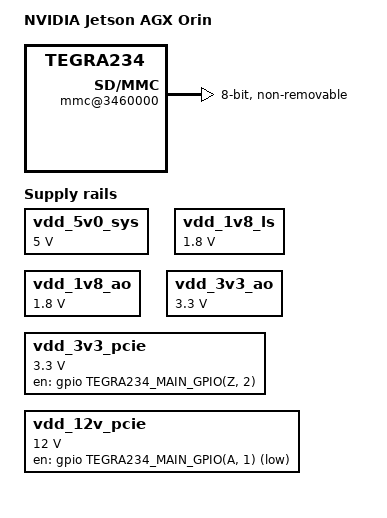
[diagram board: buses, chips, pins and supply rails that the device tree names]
// SPDX-License-Identifier: GPL-2.0

#include "tegra234-p3701.dtsi"

/ {
	model = "NVIDIA Jetson AGX Orin";
	compatible = "nvidia,p3701-0000", "nvidia,tegra234";

	thermal-zones {
		tj-thermal {
			polling-delay = <1000>;
			polling-delay-passive = <1000>;
			status = "okay";

			trips {
				tj_trip_active0: active-0 {
					temperature = <75000>;
					hysteresis = <4000>;
					type = "active";
				};

				tj_trip_active1: active-1 {
					temperature = <95000>;
					hysteresis = <4000>;
					type = "active";
				};
			};
		};
	};

	bus@0 {
		mmc@3460000 {
			status = "okay";
			bus-width = <8>;
			non-removable;
		};

		padctl@3520000 {
			vclamp-usb-supply = <&vdd_1v8_ao>;
			avdd-usb-supply = <&vdd_3v3_ao>;

			ports {
				usb2-0 {
					vbus-supply = <&vdd_5v0_sys>;
				};

				usb2-1 {
					vbus-supply = <&vdd_5v0_sys>;
				};

				usb2-2 {
					vbus-supply = <&vdd_5v0_sys>;
				};

				usb2-3 {
					vbus-supply = <&vdd_5v0_sys>;
				};
			};
		};

		rtc@c2a0000 {
			status = "okay";
		};

		pmc@c360000 {
			nvidia,invert-interrupt;
		};
	};

	vdd_5v0_sys: regulator-vdd-5v0-sys {
		compatible = "regulator-fixed";
		regulator-name = "VIN_SYS_5V0";
		regulator-min-microvolt = <5000000>;
		regulator-max-microvolt = <5000000>;
		regulator-always-on;
		regulator-boot-on;
	};

	vdd_1v8_ls: regulator-vdd-1v8-ls {
		compatible = "regulator-fixed";
		regulator-name = "VDD_1V8_LS";
		regulator-min-microvolt = <1800000>;
		regulator-max-microvolt = <1800000>;
		regulator-always-on;
	};

	vdd_1v8_ao: regulator-vdd-1v8-ao {
		compatible = "regulator-fixed";
		regulator-name = "VDD_1V8_AO";
		regulator-min-microvolt = <1800000>;
		regulator-max-microvolt = <1800000>;
		regulator-always-on;
	};

	vdd_3v3_ao: regulator-vdd-3v3-ao {
		compatible = "regulator-fixed";
		regulator-name = "VDD_3V3_AO";
		regulator-min-microvolt = <3300000>;
		regulator-max-microvolt = <3300000>;
		regulator-always-on;
	};

	vdd_3v3_pcie: regulator-vdd-3v3-pcie {
		compatible = "regulator-fixed";
		regulator-name = "VDD_3V3_PCIE";
		regulator-min-microvolt = <3300000>;
		regulator-max-microvolt = <3300000>;
		gpio = <&gpio TEGRA234_MAIN_GPIO(Z, 2) GPIO_ACTIVE_HIGH>;
		regulator-boot-on;
		enable-active-high;
	};

	vdd_12v_pcie: regulator-vdd-12v-pcie {
		compatible = "regulator-fixed";
		regulator-name = "VDD_12V_PCIE";
		regulator-min-microvolt = <12000000>;
		regulator-max-microvolt = <12000000>;
		gpio = <&gpio TEGRA234_MAIN_GPIO(A, 1) GPIO_ACTIVE_LOW>;
		regulator-boot-on;
	};
};
